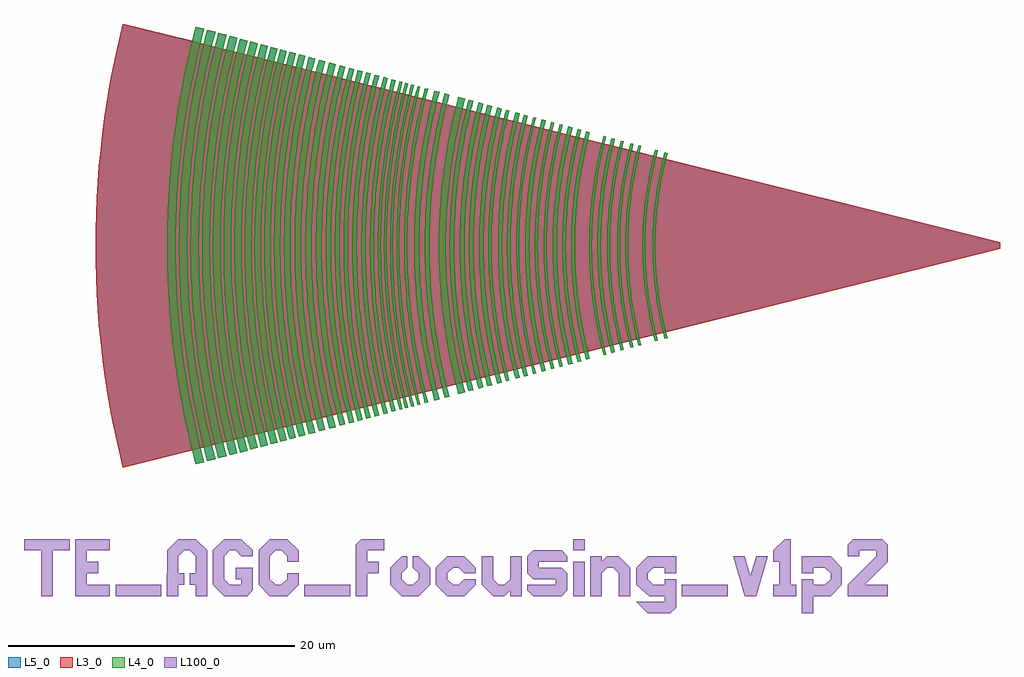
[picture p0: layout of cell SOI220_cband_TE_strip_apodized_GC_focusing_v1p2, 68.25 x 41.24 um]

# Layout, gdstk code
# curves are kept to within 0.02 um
import gdstk
lib = gdstk.Library(unit=1e-6, precision=1e-09)
def R(c, l, rs):  # rectangles x0, y0, x1, y1
    for r in rs: c.add(gdstk.rectangle(r[:2], r[2:], *l))
def P(c, l, *ps):  # polygons
    for p in ps: c.add(gdstk.Polygon(p, *l))
L3_0 = (3, 0)
L4_0 = (4, 0)
L5_0 = (5, 0)
L100_0 = (100, 0)

text_gdsfactorypcomponen = lib.new_cell('text_gdsfactorypcomponentsptextsptext_TTE_AGC_focusing__eea6ce67')
R(text_gdsfactorypcomponen, L100_0, [(6.8,0,10,0.8), (20,0,23.2,0.8), (38.8,0,39.6,2.4), (46.4,0,49.6,0.8), (38.8,3.2,39.6,4)])
P(text_gdsfactorypcomponen, L100_0, [(26.8,0),(26,0.8),(26,2),(26.8,2.8),(27.2,2.8),(27.2,2),(26.8,1.6),(26.8,1.2),(27.2,0.8),(27.6,0.8),(28,1.2),(28,1.6),(27.6,2),(27.6,2.8),(28,2.8),(28.8,2),(28.8,0.8),(28,0)],
  [(30,0),(29.2,0.8),(29.2,2),(30,2.8),(31.2,2.8),(32,2),(32,1.6),(31.2,1.6),(30.8,2),(30.4,2),(30,1.6),(30,1.2),(30.4,0.8),(30.8,0.8),(31.2,1.2),(32,1.2),(32,0.8),(31.2,0)],
  [(33.2,0),(32.4,0.8),(32.4,2.8),(33.2,2.8),(33.2,1.2),(33.6,0.8),(34,0.8),(34.4,1.2),(34.4,2.8),(35.2,2.8),(35.2,0),(34.4,0),(34.4,0.4),(34,0)],
  [(40,0),(40,2.8),(40.8,2.8),(40.8,2.4),(41.2,2.8),(42,2.8),(42.8,2),(42.8,0),(42,0),(42,1.6),(41.6,2),(41.2,2),(40.8,1.6),(40.8,0)],
  [(44,-1.2),(43.2,-0.4),(45.2,-0.4),(45.2,0),(44.136,0),(43.2,0.8),(43.2,2),(44,2.8),(46,2.8),(46,1.6),(45.2,1.6),(45.2,2),(44.4,2),(44,1.6),(44,1.2),(44.4,0.8),(45.2,0.8),(45.2,1.2),(46,1.2),(46,-0.8),(45.6,-1.2)],
  [(50.8,0),(50,2.8),(50.8,2.8),(51.2,1.4),(51.6,2.8),(52.4,2.8),(51.6,0)],
  [(54.8,-1.2),(54.8,1.2),(55.6,1.2),(55.6,0.8),(56.4,0.8),(56.8,1.2),(56.8,1.6),(56.4,2),(55.6,2),(55.6,1.6),(54.8,1.6),(54.8,2.8),(56.8,2.8),(57.6,2),(57.6,0.8),(56.8,0),(55.6,0),(55.6,-1.2)],
  [(36,0),(35.6,0.4),(35.6,0.8),(37.6,0.8),(37.6,1.2),(36,1.2),(35.6,1.6),(35.6,2.8),(36,3.2),(38,3.2),(38.4,2.8),(38.4,2.4),(36.4,2.4),(36.4,2),(38,2),(38.4,1.6),(38.4,0.4),(38,0)],
  [(1.6,0),(1.6,3.2),(0.4,3.2),(0.4,4),(3.6,4),(3.6,3.2),(2.4,3.2),(2.4,0)],
  [(4,0),(4,4),(6.4,4),(6.4,3.2),(4.8,3.2),(4.8,2.4),(5.6,2.4),(5.6,1.6),(4.8,1.6),(4.8,0.8),(6.4,0.8),(6.4,0)],
  [(10.396,0),(10.4,3.2),(11.2,4),(12.404,4),(13.2,3.2),(13.2,0),(12.404,0),(12.404,0.8),(12,0.8),(12,1.6),(12.404,1.6),(12.404,2.8),(12,3.2),(11.6,3.2),(11.2,2.8),(11.2,1.6),(11.6,1.6),(11.6,0.8),(11.2,0.8),(11.2,0)],
  [(14.4,0),(13.6,0.8),(13.6,3.2),(14.4,4),(15.6,4),(16.4,3.2),(16.4,2.8),(15.6,2.8),(15.2,3.2),(14.8,3.2),(14.4,2.8),(14.4,1.2),(14.8,0.8),(15.6,0.8),(15.6,1.2),(15.2,1.2),(15.2,2),(16.4,2),(16.4,0.4),(16,0)],
  [(17.6,0),(16.8,0.8),(16.8,3.2),(17.6,4),(18.8,4),(19.6,3.2),(19.6,2.4),(18.8,2.4),(18.8,2.8),(18.4,3.2),(18,3.2),(17.6,2.8),(17.6,1.2),(18,0.8),(18.4,0.8),(18.8,1.2),(18.8,1.6),(19.6,1.6),(19.6,0.8),(18.8,0)],
  [(23.6,0),(23.6,3.6),(24,4),(25.6,4),(25.6,3.2),(24.4,3.2),(24.4,2.4),(25.2,2.4),(25.2,1.6),(24.4,1.6),(24.4,0)],
  [(52.8,0),(52.8,0.8),(53.2,0.8),(53.2,2.4),(52.8,2.4),(52.8,3.2),(53.6,4),(54,4),(54,0.8),(54.4,0.8),(54.4,0)],
  [(58,0),(58,0.8),(60,2.8),(60,3.2),(58.8,3.2),(58.8,2.8),(58,2.8),(58,3.6),(58.4,4),(60.4,4),(60.8,3.6),(60.8,2.4),(59.2,0.8),(60.8,0.8),(60.8,0)])

soi220_cband_te_strip_ap = lib.new_cell('SOI220_cband_TE_strip_apodized_GC_focusing_v1p2')
P(soi220_cband_te_strip_ap, L3_0, [(-61.343,-15.52),(-61.605,-14.431),(-62.07,-12.241),(-62.459,-10.035),(-62.771,-7.818),(-63.093,-4.475),(-63.21,-2.239),(-63.249,0),(-63.21,2.239),(-63.093,4.475),(-62.771,7.818),(-62.459,10.035),(-62.07,12.241),(-61.605,14.431),(-61.343,15.52),(0,0.225),(0,-0.225)])
P(soi220_cband_te_strip_ap, L4_0, [(-23.439,-6.522),(-23.835,-4.808),(-24.111,-3.071),(-24.251,-1.538),(-24.298,0),(-24.251,1.538),(-24.111,3.071),(-23.835,4.808),(-23.439,6.522),(-23.246,6.47),(-23.639,4.77),(-23.884,3.263),(-24.037,1.744),(-24.098,0),(-24.037,-1.744),(-23.884,-3.263),(-23.639,-4.77),(-23.246,-6.47)],
  [(-24.12,-6.704),(-24.483,-5.165),(-24.781,-3.381),(-24.955,-1.581),(-25.003,0),(-24.955,1.581),(-24.781,3.381),(-24.483,5.165),(-24.12,6.704),(-23.927,6.653),(-24.331,4.905),(-24.583,3.355),(-24.755,1.569),(-24.803,0),(-24.755,-1.569),(-24.583,-3.355),(-24.331,-4.905),(-23.927,-6.653)],
  [(-25.278,-7.014),(-25.658,-5.404),(-25.97,-3.538),(-26.152,-1.654),(-26.202,0),(-26.152,1.654),(-25.97,3.538),(-25.658,5.404),(-25.278,7.014),(-25.085,6.963),(-25.508,5.134),(-25.772,3.512),(-25.952,1.642),(-26.002,0),(-25.952,-1.642),(-25.772,-3.512),(-25.508,-5.134),(-25.085,-6.963)],
  [(-25.829,-7.162),(-26.216,-5.517),(-26.535,-3.612),(-26.721,-1.689),(-26.772,0),(-26.721,1.689),(-26.535,3.612),(-26.216,5.517),(-25.829,7.162),(-25.636,7.111),(-26.067,5.242),(-26.337,3.586),(-26.521,1.677),(-26.572,0),(-26.521,-1.677),(-26.337,-3.586),(-26.067,-5.242),(-25.636,-7.111)],
  [(-26.508,-7.344),(-26.906,-5.658),(-27.232,-3.704),(-27.406,-1.979),(-27.475,0),(-27.406,1.979),(-27.232,3.704),(-26.906,5.658),(-26.508,7.344),(-26.306,7.29),(-26.701,5.616),(-27.025,3.677),(-27.197,1.965),(-27.266,0),(-27.197,-1.965),(-27.025,-3.677),(-26.701,-5.616),(-26.306,-7.29)],
  [(-27.167,-7.52),(-27.574,-5.794),(-27.909,-3.793),(-28.103,-1.775),(-28.157,0),(-28.103,1.775),(-27.909,3.793),(-27.574,5.794),(-27.167,7.52),(-26.923,7.456),(-27.376,5.497),(-27.659,3.76),(-27.835,2.009),(-27.905,0),(-27.835,-2.009),(-27.659,-3.76),(-27.376,-5.497),(-26.923,-7.456)],
  [(-27.725,-7.67),(-28.139,-5.909),(-28.48,-3.868),(-28.679,-1.809),(-28.734,0),(-28.679,1.809),(-28.48,3.868),(-28.139,5.909),(-27.725,7.67),(-27.531,7.619),(-27.943,5.869),(-28.282,3.842),(-28.479,1.797),(-28.534,0),(-28.479,-1.797),(-28.282,-3.842),(-27.943,-5.869),(-27.531,-7.619)],
  [(-28.944,-7.996),(-29.428,-5.896),(-29.732,-4.033),(-29.938,-1.886),(-29.996,0),(-29.938,1.886),(-29.732,4.033),(-29.428,5.896),(-28.944,7.996),(-28.675,7.925),(-29.103,6.105),(-29.456,3.997),(-29.661,1.869),(-29.718,0),(-29.661,-1.869),(-29.456,-3.997),(-29.103,-6.105),(-28.675,-7.925)],
  [(-29.532,-8.153),(-29.973,-6.281),(-30.336,-4.113),(-30.547,-1.923),(-30.605,0),(-30.547,1.923),(-30.336,4.113),(-29.973,6.281),(-29.532,8.153),(-29.288,8.089),(-29.726,6.231),(-30.086,4.08),(-30.295,1.908),(-30.353,0),(-30.295,-1.908),(-30.086,-4.08),(-29.726,-6.231),(-29.288,-8.089)],
  [(-30.19,-8.329),(-30.64,-6.417),(-30.845,-5.312),(-31.01,-4.201),(-31.138,-3.085),(-31.226,-1.965),(-31.286,0),(-31.226,1.965),(-31.138,3.085),(-31.01,4.201),(-30.845,5.312),(-30.64,6.417),(-30.19,8.329),(-29.889,8.25),(-30.335,6.355),(-30.702,4.161),(-30.916,1.946),(-30.975,0),(-30.916,-1.946),(-30.702,-4.161),(-30.335,-6.355),(-29.889,-8.25)],
  [(-30.793,-8.492),(-31.253,-6.541),(-31.63,-4.283),(-31.76,-3.145),(-31.85,-2.003),(-31.911,0),(-31.85,2.003),(-31.76,3.145),(-31.63,4.283),(-31.253,6.541),(-30.793,8.492),(-30.582,8.436),(-31.039,6.498),(-31.414,4.255),(-31.614,2.274),(-31.693,0),(-31.614,-2.274),(-31.414,-4.255),(-31.039,-6.498),(-30.582,-8.436)],
  [(-31.391,-8.652),(-31.673,-7.521),(-31.916,-6.38),(-32.244,-4.364),(-32.376,-3.204),(-32.468,-2.04),(-32.53,0),(-32.468,2.04),(-32.376,3.204),(-32.244,4.364),(-31.916,6.38),(-31.673,7.521),(-31.391,8.652),(-31.176,8.595),(-31.457,7.471),(-31.698,6.337),(-32.024,4.335),(-32.155,3.183),(-32.246,2.027),(-32.308,0),(-32.246,-2.027),(-32.155,-3.183),(-32.024,-4.335),(-31.698,-6.337),(-31.457,-7.471),(-31.176,-8.595)],
  [(-32.043,-8.826),(-32.52,-6.8),(-32.737,-5.63),(-32.913,-4.452),(-33.122,-2.379),(-33.184,-1.19),(-33.205,0),(-33.184,1.19),(-33.122,2.379),(-32.913,4.452),(-32.737,5.63),(-32.52,6.8),(-32.043,8.826),(-31.752,8.75),(-32.038,7.605),(-32.283,6.45),(-32.615,4.413),(-32.822,2.358),(-32.883,1.18),(-32.904,0),(-32.883,-1.18),(-32.822,-2.358),(-32.615,-4.413),(-32.283,-6.45),(-32.038,-7.605),(-31.752,-8.75)],
  [(-32.633,-8.985),(-33.119,-6.922),(-33.34,-5.73),(-33.519,-4.532),(-33.656,-3.327),(-33.752,-2.119),(-33.816,0),(-33.752,2.119),(-33.656,3.327),(-33.519,4.532),(-33.34,5.73),(-33.119,6.922),(-32.633,8.985),(-32.44,8.934),(-32.798,7.471),(-33.038,6.29),(-33.237,5.102),(-33.427,3.608),(-33.569,1.807),(-33.616,0),(-33.569,-1.807),(-33.427,-3.608),(-33.237,-5.102),(-33.038,-6.29),(-32.798,-7.471),(-32.44,-8.934)],
  [(-33.278,-9.157),(-33.774,-7.054),(-33.998,-5.841),(-34.182,-4.619),(-34.397,-2.468),(-34.463,-1.235),(-34.484,0),(-34.463,1.235),(-34.397,2.468),(-34.182,4.619),(-33.998,5.841),(-33.774,7.054),(-33.278,9.157),(-33.019,9.089),(-33.316,7.9),(-33.571,6.701),(-33.916,4.584),(-34.13,2.45),(-34.195,1.226),(-34.216,0),(-34.195,-1.226),(-34.13,-2.45),(-33.916,-4.584),(-33.571,-6.701),(-33.316,-7.9),(-33.019,-9.089)],
  [(-33.875,-9.318),(-34.379,-7.178),(-34.608,-5.942),(-34.794,-4.699),(-35.014,-2.511),(-35.08,-1.257),(-35.102,0),(-35.08,1.257),(-35.014,2.511),(-34.794,4.699),(-34.608,5.942),(-34.379,7.178),(-33.875,9.318),(-33.583,9.24),(-33.885,8.031),(-34.144,6.812),(-34.495,4.66),(-34.713,2.49),(-34.778,1.246),(-34.8,0),(-34.778,-1.246),(-34.713,-2.49),(-34.495,-4.66),(-34.144,-6.812),(-33.885,-8.031),(-33.583,-9.24)],
  [(-34.534,-9.494),(-34.844,-8.252),(-35.11,-7),(-35.47,-4.789),(-35.615,-3.517),(-35.716,-2.239),(-35.784,0),(-35.716,2.239),(-35.615,3.517),(-35.47,4.789),(-35.11,7),(-34.844,8.252),(-34.534,9.494),(-34.306,9.434),(-34.816,7.267),(-35.048,6.016),(-35.236,4.758),(-35.38,3.494),(-35.48,2.225),(-35.548,0),(-35.48,-2.225),(-35.38,-3.494),(-35.236,-4.758),(-35.048,-6.016),(-34.816,-7.267),(-34.306,-9.434)],
  [(-35.16,-9.661),(-35.476,-8.398),(-35.746,-7.123),(-36.112,-4.873),(-36.341,-2.604),(-36.409,-1.302),(-36.432,0),(-36.409,1.302),(-36.341,2.604),(-36.112,4.873),(-35.746,7.123),(-35.476,8.398),(-35.16,9.661),(-34.838,9.577),(-35.356,7.377),(-35.592,6.107),(-35.782,4.83),(-36.009,2.581),(-36.076,1.291),(-36.099,0),(-36.076,-1.291),(-36.009,-2.581),(-35.782,-4.83),(-35.592,-6.107),(-35.356,-7.377),(-34.838,-9.577)],
  [(-35.843,-9.845),(-36.164,-8.557),(-36.44,-7.259),(-36.813,-4.965),(-36.995,-3.316),(-37.068,-2.323),(-37.139,0),(-37.068,2.323),(-36.995,3.316),(-36.813,4.965),(-36.44,7.259),(-36.164,8.557),(-35.843,9.845),(-35.514,9.758),(-36.042,7.516),(-36.282,6.222),(-36.476,4.921),(-36.625,3.613),(-36.729,2.302),(-36.799,0),(-36.729,-2.302),(-36.625,-3.613),(-36.476,-4.921),(-36.282,-6.222),(-36.042,-7.516),(-35.514,-9.758)],
  [(-36.462,-10.011),(-36.788,-8.702),(-37.07,-7.381),(-37.449,-5.049),(-37.686,-2.698),(-37.757,-1.35),(-37.78,0),(-37.757,1.35),(-37.686,2.698),(-37.449,5.049),(-37.07,7.381),(-36.788,8.702),(-36.462,10.011),(-36.135,9.924),(-36.459,8.626),(-36.738,7.316),(-37.114,5.005),(-37.349,2.675),(-37.419,1.338),(-37.442,0),(-37.419,-1.338),(-37.349,-2.675),(-37.114,-5.005),(-36.738,-7.316),(-36.459,-8.626),(-36.135,-9.924)],
  [(-37.154,-10.196),(-37.705,-7.855),(-37.955,-6.502),(-38.159,-5.143),(-38.4,-2.748),(-38.472,-1.375),(-38.496,0),(-38.472,1.375),(-38.4,2.748),(-38.159,5.143),(-37.955,6.502),(-37.705,7.855),(-37.154,10.196),(-36.83,10.11),(-37.377,7.788),(-37.625,6.447),(-37.827,5.099),(-38.066,2.725),(-38.137,1.363),(-38.161,0),(-38.137,-1.363),(-38.066,-2.725),(-37.827,-5.099),(-37.625,-6.447),(-37.377,-7.788),(-36.83,-10.11)],
  [(-37.881,-10.39),(-38.219,-9.031),(-38.511,-7.661),(-38.905,-5.24),(-39.063,-3.848),(-39.173,-2.451),(-39.248,0),(-39.173,2.451),(-39.063,3.848),(-38.905,5.24),(-38.511,7.661),(-38.219,9.031),(-37.881,10.39),(-37.395,10.262),(-37.73,8.919),(-38.018,7.565),(-38.407,5.175),(-38.563,3.8),(-38.672,2.42),(-38.746,0),(-38.672,-2.42),(-38.563,-3.8),(-38.407,-5.175),(-38.018,-7.565),(-37.73,-8.919),(-37.395,-10.262)],
  [(-38.831,-10.645),(-39.177,-9.253),(-39.477,-7.849),(-39.88,-5.37),(-40.132,-2.87),(-40.207,-1.436),(-40.232,0),(-40.207,1.436),(-40.132,2.87),(-39.88,5.37),(-39.477,7.849),(-39.177,9.253),(-38.831,10.645),(-38.501,10.558),(-38.845,9.176),(-39.142,7.784),(-39.542,5.325),(-39.792,2.846),(-39.866,1.424),(-39.891,0),(-39.866,-1.424),(-39.792,-2.846),(-39.542,-5.325),(-39.142,-7.784),(-38.845,-9.176),(-38.501,-10.558)],
  [(-39.544,-10.836),(-40.13,-8.348),(-40.396,-6.911),(-40.612,-5.466),(-40.777,-4.013),(-40.892,-2.556),(-40.97,0),(-40.892,2.556),(-40.777,4.013),(-40.612,5.466),(-40.396,6.911),(-40.13,8.348),(-39.544,10.836),(-39.19,10.743),(-39.771,8.275),(-40.035,6.85),(-40.249,5.418),(-40.413,3.978),(-40.527,2.534),(-40.604,0),(-40.527,-2.534),(-40.413,-3.978),(-40.249,-5.418),(-40.035,-6.85),(-39.771,-8.275),(-39.19,-10.743)],
  [(-40.217,-11.017),(-40.577,-9.576),(-40.886,-8.122),(-41.304,-5.557),(-41.472,-4.08),(-41.589,-2.599),(-41.668,0),(-41.589,2.599),(-41.472,4.08),(-41.304,5.557),(-40.886,8.122),(-40.577,9.576),(-40.217,11.017),(-39.997,10.959),(-40.355,9.525),(-40.731,7.716),(-40.975,6.259),(-41.168,4.793),(-41.382,2.216),(-41.44,0),(-41.382,-2.216),(-41.168,-4.793),(-40.975,-6.259),(-40.731,-7.716),(-40.355,-9.525),(-39.997,-10.959)],
  [(-40.732,-11.155),(-41.011,-10.062),(-41.336,-8.593),(-41.61,-7.114),(-41.832,-5.626),(-42.002,-4.131),(-42.121,-2.631),(-42.201,0),(-42.121,2.631),(-42.002,4.131),(-41.832,5.626),(-41.61,7.114),(-41.336,8.593),(-41.011,10.062),(-40.732,11.155),(-40.539,11.104),(-40.984,9.286),(-41.283,7.818),(-41.53,6.341),(-41.725,4.857),(-41.921,2.619),(-42.001,0),(-41.921,-2.619),(-41.725,-4.857),(-41.53,-6.341),(-41.283,-7.818),(-40.984,-9.286),(-40.539,-11.104)],
  [(-41.168,-11.272),(-41.778,-8.683),(-42.054,-7.188),(-42.279,-5.685),(-42.451,-4.174),(-42.571,-2.659),(-42.626,-1.52),(-42.652,0),(-42.626,1.52),(-42.571,2.659),(-42.451,4.174),(-42.279,5.685),(-42.054,7.188),(-41.778,8.683),(-41.168,11.272),(-40.974,11.221),(-41.34,9.752),(-41.725,7.9),(-41.975,6.408),(-42.172,4.908),(-42.392,2.269),(-42.451,0),(-42.392,-2.269),(-42.172,-4.908),(-41.975,-6.408),(-41.725,-7.9),(-41.34,-9.752),(-40.974,-11.221)],
  [(-41.583,-11.383),(-41.955,-9.894),(-42.274,-8.392),(-42.541,-6.88),(-42.705,-5.741),(-42.841,-4.598),(-42.975,-3.068),(-43.055,-1.535),(-43.082,0),(-43.055,1.535),(-42.975,3.068),(-42.841,4.598),(-42.705,5.741),(-42.541,6.88),(-42.274,8.392),(-41.955,9.894),(-41.583,11.383),(-41.389,11.332),(-41.759,9.849),(-42.077,8.354),(-42.342,6.849),(-42.6,4.956),(-42.821,2.291),(-42.881,0),(-42.821,-2.291),(-42.6,-4.956),(-42.342,-6.849),(-42.077,-8.354),(-41.759,-9.849),(-41.389,-11.332)],
  [(-41.99,-11.492),(-42.365,-9.989),(-42.612,-8.853),(-42.894,-7.329),(-43.123,-5.796),(-43.299,-4.256),(-43.421,-2.711),(-43.488,-1.162),(-43.503,0),(-43.488,1.162),(-43.421,2.711),(-43.299,4.256),(-43.123,5.796),(-42.894,7.329),(-42.612,8.853),(-42.365,9.989),(-41.99,11.492),(-41.785,11.438),(-42.158,9.941),(-42.551,8.054),(-42.806,6.532),(-43.007,5.003),(-43.209,2.698),(-43.276,1.157),(-43.291,0),(-43.276,-1.157),(-43.209,-2.698),(-43.007,-5.003),(-42.806,-6.532),(-42.551,-8.054),(-42.158,-9.941),(-41.785,-11.438)],
  [(-42.527,-11.635),(-42.906,-10.114),(-43.232,-8.578),(-43.505,-7.034),(-43.674,-5.868),(-43.851,-4.309),(-43.974,-2.745),(-44.031,-1.569),(-44.058,0),(-44.031,1.569),(-43.974,2.745),(-43.851,4.309),(-43.674,5.868),(-43.505,7.034),(-43.232,8.578),(-42.906,10.114),(-42.527,11.635),(-42.251,11.563),(-42.539,10.429),(-42.876,8.907),(-43.16,7.374),(-43.391,5.831),(-43.567,4.282),(-43.69,2.727),(-43.758,1.169),(-43.773,0),(-43.758,-1.169),(-43.69,-2.727),(-43.567,-4.282),(-43.391,-5.831),(-43.16,-7.374),(-42.876,-8.907),(-42.539,-10.429),(-42.251,-11.563)],
  [(-43.106,-11.79),(-43.49,-10.248),(-43.821,-8.693),(-44.097,-7.128),(-44.268,-5.947),(-44.449,-4.367),(-44.547,-3.179),(-44.63,-1.589),(-44.658,0),(-44.63,1.589),(-44.547,3.179),(-44.449,4.367),(-44.268,5.947),(-44.097,7.128),(-43.821,8.693),(-43.49,10.248),(-43.106,11.79),(-42.812,11.713),(-43.194,10.18),(-43.523,8.635),(-43.797,7.08),(-43.967,5.907),(-44.146,4.338),(-44.27,2.763),(-44.338,1.185),(-44.354,0),(-44.338,-1.185),(-44.27,-2.763),(-44.146,-4.338),(-43.967,-5.907),(-43.797,-7.08),(-43.523,-8.635),(-43.194,-10.18),(-42.812,-11.713)],
  [(-43.723,-11.956),(-44.113,-10.393),(-44.448,-8.816),(-44.664,-7.625),(-44.902,-6.03),(-45.085,-4.428),(-45.184,-3.223),(-45.269,-1.612),(-45.297,0),(-45.269,1.612),(-45.184,3.223),(-45.085,4.428),(-44.902,6.03),(-44.664,7.625),(-44.448,8.816),(-44.113,10.393),(-43.723,11.956),(-43.406,11.872),(-43.702,10.708),(-44.048,9.145),(-44.34,7.571),(-44.577,5.987),(-44.758,4.397),(-44.857,3.2),(-44.941,1.601),(-44.969,0),(-44.941,-1.601),(-44.857,-3.2),(-44.758,-4.397),(-44.577,-5.987),(-44.34,-7.571),(-44.048,-9.145),(-43.702,-10.708),(-43.406,-11.872)],
  [(-44.308,-12.112),(-44.702,-10.529),(-44.963,-9.331),(-45.26,-7.725),(-45.501,-6.109),(-45.687,-4.486),(-45.788,-3.264),(-45.874,-1.634),(-45.902,0),(-45.874,1.634),(-45.788,3.264),(-45.687,4.486),(-45.501,6.109),(-45.26,7.725),(-44.963,9.331),(-44.702,10.529),(-44.308,12.112),(-44.007,12.033),(-44.306,10.854),(-44.658,9.269),(-44.953,7.674),(-45.193,6.069),(-45.377,4.456),(-45.478,3.243),(-45.563,1.623),(-45.591,0),(-45.563,-1.623),(-45.478,-3.243),(-45.377,-4.456),(-45.193,-6.069),(-44.953,-7.674),(-44.658,-9.269),(-44.306,-10.854),(-44.007,-12.033)],
  [(-44.899,-12.271),(-45.299,-10.666),(-45.643,-9.048),(-45.93,-7.418),(-46.108,-6.189),(-46.254,-4.956),(-46.398,-3.308),(-46.485,-1.655),(-46.514,0),(-46.485,1.655),(-46.398,3.308),(-46.254,4.956),(-46.108,6.189),(-45.93,7.418),(-45.643,9.048),(-45.299,10.666),(-44.899,12.271),(-44.566,12.183),(-44.964,10.589),(-45.225,9.385),(-45.524,7.769),(-45.767,6.144),(-45.953,4.512),(-46.082,2.874),(-46.154,1.232),(-46.17,0),(-46.154,-1.232),(-46.082,-2.874),(-45.953,-4.512),(-45.767,-6.144),(-45.524,-7.769),(-45.225,-9.385),(-44.964,-10.589),(-44.566,-12.183)],
  [(-45.515,-12.436),(-45.825,-11.218),(-46.188,-9.58),(-46.493,-7.931),(-46.741,-6.273),(-46.889,-5.023),(-47.035,-3.352),(-47.123,-1.677),(-47.152,0),(-47.123,1.677),(-47.035,3.352),(-46.889,5.023),(-46.741,6.273),(-46.493,7.931),(-46.188,9.58),(-45.825,11.218),(-45.515,12.436),(-45.155,12.341),(-45.463,11.131),(-45.823,9.506),(-46.126,7.87),(-46.372,6.224),(-46.519,4.984),(-46.664,3.326),(-46.751,1.664),(-46.78,0),(-46.751,-1.664),(-46.664,-3.326),(-46.519,-4.984),(-46.372,-6.224),(-46.126,-7.87),(-45.823,-9.506),(-45.463,-11.131),(-45.155,-12.341)],
  [(-46.181,-12.615),(-46.593,-10.965),(-46.864,-9.718),(-47.173,-8.045),(-47.425,-6.362),(-47.618,-4.672),(-47.751,-2.976),(-47.813,-1.701),(-47.842,0),(-47.813,1.701),(-47.751,2.976),(-47.618,4.672),(-47.425,6.362),(-47.173,8.045),(-46.864,9.718),(-46.593,10.965),(-46.181,12.615),(-45.773,12.507),(-46.182,10.87),(-46.45,9.634),(-46.757,7.975),(-47.007,6.307),(-47.198,4.631),(-47.33,2.95),(-47.391,1.686),(-47.42,0),(-47.391,-1.686),(-47.33,-2.95),(-47.198,-4.631),(-47.007,-6.307),(-46.757,-7.975),(-46.45,-9.634),(-46.182,-10.87),(-45.773,-12.507)],
  [(-46.893,-12.805),(-47.31,-11.131),(-47.67,-9.442),(-47.901,-8.166),(-48.156,-6.459),(-48.308,-5.172),(-48.459,-3.452),(-48.549,-1.727),(-48.579,0),(-48.549,1.727),(-48.459,3.452),(-48.308,5.172),(-48.156,6.459),(-47.901,8.166),(-47.67,9.442),(-47.31,11.131),(-46.893,12.805),(-46.458,12.69),(-46.774,11.446),(-47.145,9.775),(-47.457,8.092),(-47.71,6.4),(-47.903,4.699),(-48.038,2.993),(-48.099,1.711),(-48.129,0),(-48.099,-1.711),(-48.038,-2.993),(-47.903,-4.699),(-47.71,-6.4),(-47.457,-8.092),(-47.145,-9.775),(-46.774,-11.446),(-46.458,-12.69)],
  [(-47.619,-12.999),(-48.043,-11.3),(-48.322,-10.015),(-48.641,-8.291),(-48.9,-6.557),(-49.099,-4.815),(-49.208,-3.504),(-49.3,-1.753),(-49.33,0),(-49.3,1.753),(-49.208,3.504),(-49.099,4.815),(-48.9,6.557),(-48.641,8.291),(-48.322,10.015),(-48.043,11.3),(-47.619,12.999),(-47.168,12.88),(-47.589,11.195),(-47.95,9.496),(-48.251,7.785),(-48.438,6.496),(-48.635,4.77),(-48.743,3.472),(-48.834,1.737),(-48.864,0),(-48.834,-1.737),(-48.743,-3.472),(-48.635,-4.77),(-48.438,-6.496),(-48.251,-7.785),(-47.95,-9.496),(-47.589,-11.195),(-47.168,-12.88)],
  [(-48.334,-13.19),(-48.763,-11.466),(-49.134,-9.726),(-49.371,-8.412),(-49.634,-6.654),(-49.791,-5.328),(-49.946,-3.556),(-50.039,-1.779),(-50.07,0),(-50.039,1.779),(-49.946,3.556),(-49.791,5.328),(-49.634,6.654),(-49.371,8.412),(-49.134,9.726),(-48.763,11.466),(-48.334,13.19),(-47.892,13.074),(-48.318,11.363),(-48.685,9.639),(-48.991,7.902),(-49.181,6.594),(-49.38,4.842),(-49.519,3.084),(-49.596,1.322),(-49.613,0),(-49.596,-1.322),(-49.519,-3.084),(-49.38,-4.842),(-49.181,-6.594),(-48.991,-7.902),(-48.685,-9.639),(-48.318,-11.363),(-47.892,-13.074)],
  [(-49.015,-13.372),(-49.347,-12.064),(-49.738,-10.303),(-50.067,-8.529),(-50.333,-6.745),(-50.492,-5.401),(-50.649,-3.605),(-50.744,-1.804),(-50.775,0),(-50.744,1.804),(-50.649,3.605),(-50.492,5.401),(-50.333,6.745),(-50.067,8.529),(-49.738,10.303),(-49.347,12.064),(-49.015,13.372),(-48.575,13.257),(-48.905,11.958),(-49.292,10.212),(-49.618,8.454),(-49.882,6.686),(-50.084,4.909),(-50.195,3.573),(-50.289,1.788),(-50.32,0),(-50.289,-1.788),(-50.195,-3.573),(-50.084,-4.909),(-49.882,-6.686),(-49.618,-8.454),(-49.292,-10.212),(-48.905,-11.958),(-48.575,-13.257)],
  [(-49.673,-13.55),(-50.115,-11.778),(-50.495,-9.991),(-50.739,-8.642),(-51.009,-6.834),(-51.171,-5.474),(-51.33,-3.653),(-51.425,-1.827),(-51.457,0),(-51.425,1.827),(-51.33,3.653),(-51.171,5.474),(-51.009,6.834),(-50.739,8.642),(-50.495,9.991),(-50.115,11.778),(-49.673,13.55),(-49.235,13.434),(-49.674,11.676),(-49.962,10.348),(-50.292,8.567),(-50.56,6.775),(-50.72,5.426),(-50.878,3.621),(-50.972,1.811),(-51.004,0),(-50.972,-1.811),(-50.878,-3.621),(-50.72,-5.426),(-50.56,-6.775),(-50.292,-8.567),(-49.962,-10.348),(-49.674,-11.676),(-49.235,-13.434)],
  [(-50.327,-13.725),(-50.774,-11.93),(-51.069,-10.574),(-51.406,-8.754),(-51.679,-6.922),(-51.889,-5.083),(-52.004,-3.7),(-52.101,-1.851),(-52.133,0),(-52.101,1.851),(-52.004,3.7),(-51.889,5.083),(-51.679,6.922),(-51.406,8.754),(-51.069,10.574),(-50.774,11.93),(-50.327,13.725),(-49.873,13.605),(-50.212,12.271),(-50.609,10.48),(-50.943,8.676),(-51.214,6.861),(-51.376,5.495),(-51.536,3.667),(-51.632,1.835),(-51.664,0),(-51.632,-1.835),(-51.536,-3.667),(-51.376,-5.495),(-51.214,-6.861),(-50.943,-8.676),(-50.609,-10.48),(-50.212,-12.271),(-49.873,-13.605)],
  [(-50.992,-13.902),(-51.445,-12.085),(-51.835,-10.252),(-52.161,-8.404),(-52.363,-7.013),(-52.575,-5.149),(-52.722,-3.28),(-52.79,-1.875),(-52.822,0),(-52.79,1.875),(-52.722,3.28),(-52.575,5.149),(-52.363,7.013),(-52.161,8.404),(-51.835,10.252),(-51.445,12.085),(-50.992,13.902),(-50.519,13.778),(-50.969,11.975),(-51.355,10.158),(-51.678,8.328),(-51.878,6.949),(-52.088,5.102),(-52.234,3.25),(-52.301,1.858),(-52.333,0),(-52.301,-1.858),(-52.234,-3.25),(-52.088,-5.102),(-51.878,-6.949),(-51.678,-8.328),(-51.355,-10.158),(-50.969,-11.975),(-50.519,-13.778)],
  [(-51.691,-14.09),(-52.042,-12.711),(-52.453,-10.855),(-52.799,-8.987),(-53.081,-7.107),(-53.296,-5.219),(-53.414,-3.798),(-53.513,-1.9),(-53.546,0),(-53.513,1.9),(-53.414,3.798),(-53.296,5.219),(-53.081,7.107),(-52.799,8.987),(-52.453,10.855),(-52.042,12.711),(-51.691,14.09),(-51.187,13.957),(-51.643,12.131),(-52.034,10.29),(-52.361,8.436),(-52.564,7.039),(-52.73,5.637),(-52.894,3.762),(-52.992,1.882),(-53.025,0),(-52.992,-1.882),(-52.894,-3.762),(-52.73,-5.637),(-52.564,-7.039),(-52.361,-8.436),(-52.034,-10.29),(-51.643,-12.131),(-51.187,-13.957)],
  [(-52.417,-14.285),(-52.773,-12.886),(-53.19,-11.005),(-53.541,-9.11),(-53.825,-7.205),(-53.996,-5.77),(-54.164,-3.851),(-54.265,-1.927),(-54.298,0),(-54.265,1.927),(-54.164,3.851),(-53.996,5.77),(-53.825,7.205),(-53.541,9.11),(-53.19,11.005),(-52.773,12.886),(-52.417,14.285),(-51.898,14.148),(-52.251,12.761),(-52.664,10.898),(-53.011,9.022),(-53.293,7.135),(-53.462,5.714),(-53.628,3.813),(-53.728,1.908),(-53.761,0),(-53.728,-1.908),(-53.628,-3.813),(-53.462,-5.714),(-53.293,-7.135),(-53.011,-9.022),(-52.664,-10.898),(-52.251,-12.761),(-51.898,-14.148)],
  [(-53.136,-14.477),(-53.608,-12.585),(-53.919,-11.153),(-54.275,-9.234),(-54.563,-7.302),(-54.736,-5.848),(-54.906,-3.903),(-55.008,-1.952),(-55.042,0),(-55.008,1.952),(-54.906,3.903),(-54.736,5.848),(-54.563,7.302),(-54.275,9.234),(-53.919,11.153),(-53.608,12.585),(-53.136,14.477),(-52.611,14.339),(-53.079,12.463),(-53.387,11.045),(-53.739,9.144),(-54.025,7.231),(-54.244,5.31),(-54.396,3.382),(-54.48,1.45),(-54.499,0),(-54.48,-1.45),(-54.396,-3.382),(-54.244,-5.31),(-54.025,-7.231),(-53.739,-9.144),(-53.387,-11.045),(-53.079,-12.463),(-52.611,-14.339)],
  [(-53.87,-14.674),(-54.235,-13.237),(-54.663,-11.304),(-55.023,-9.359),(-55.316,-7.401),(-55.54,-5.435),(-55.663,-3.956),(-55.767,-1.979),(-55.801,0),(-55.767,1.979),(-55.663,3.956),(-55.54,5.435),(-55.316,7.401),(-55.023,9.359),(-54.663,11.304),(-54.235,13.237),(-53.87,14.674),(-53.333,14.532),(-53.695,13.107),(-54.119,11.194),(-54.476,9.267),(-54.766,7.329),(-54.988,5.382),(-55.109,3.917),(-55.212,1.96),(-55.246,0),(-55.212,-1.96),(-55.109,-3.917),(-54.988,-5.382),(-54.766,-7.329),(-54.476,-9.267),(-54.119,-11.194),(-53.695,-13.107),(-53.333,-14.532)],
  [(-54.652,-14.884),(-55.138,-12.938),(-55.555,-10.975),(-55.904,-8.997),(-56.12,-7.508),(-56.347,-5.513),(-56.505,-3.511),(-56.577,-2.006),(-56.612,0),(-56.577,2.006),(-56.505,3.511),(-56.347,5.513),(-56.12,7.508),(-55.904,8.997),(-55.555,10.975),(-55.138,12.938),(-54.652,14.884),(-54.078,14.732),(-54.559,12.804),(-54.972,10.861),(-55.317,8.904),(-55.531,7.43),(-55.756,5.456),(-55.912,3.475),(-55.983,1.986),(-56.018,0),(-55.983,-1.986),(-55.912,-3.475),(-55.756,-5.456),(-55.531,-7.43),(-55.317,-8.904),(-54.972,-10.861),(-54.559,-12.804),(-54.078,-14.732)],
  [(-55.429,-15.091),(-55.922,-13.119),(-56.245,-11.626),(-56.616,-9.625),(-56.917,-7.612),(-57.097,-6.096),(-57.274,-4.068),(-57.381,-2.036),(-57.416,0),(-57.381,2.036),(-57.274,4.068),(-57.097,6.096),(-56.917,7.612),(-56.616,9.625),(-56.245,11.626),(-55.922,13.119),(-55.429,15.091),(-54.854,14.94),(-55.342,12.985),(-55.662,11.508),(-56.029,9.527),(-56.327,7.534),(-56.555,5.533),(-56.713,3.524),(-56.786,2.015),(-56.821,0),(-56.786,-2.015),(-56.713,-3.524),(-56.555,-5.533),(-56.327,-7.534),(-56.029,-9.527),(-55.662,-11.508),(-55.342,-12.985),(-54.854,-14.94)],
  [(-56.234,-15.307),(-56.615,-13.809),(-57.062,-11.792),(-57.438,-9.762),(-57.743,-7.721),(-57.976,-5.67),(-58.139,-3.612),(-58.229,-1.548),(-58.249,0),(-58.229,1.548),(-58.139,3.612),(-57.976,5.67),(-57.743,7.721),(-57.438,9.762),(-57.062,11.792),(-56.615,13.809),(-56.234,15.307),(-55.644,15.152),(-56.022,13.666),(-56.464,11.671),(-56.836,9.662),(-57.138,7.641),(-57.369,5.611),(-57.53,3.574),(-57.619,1.532),(-57.639,0),(-57.619,-1.532),(-57.53,-3.574),(-57.369,-5.611),(-57.138,-7.641),(-56.836,-9.662),(-56.464,-11.671),(-56.022,-13.666),(-55.644,-15.152)])
P(soi220_cband_te_strip_ap, L5_0, [(-61.343,-15.52),(-61.605,-14.431),(-62.07,-12.241),(-62.459,-10.035),(-62.771,-7.818),(-63.093,-4.475),(-63.21,-2.239),(-63.249,0),(-63.21,2.239),(-63.093,4.475),(-62.771,7.818),(-62.459,10.035),(-62.07,12.241),(-61.605,14.431),(-61.343,15.52),(-56.492,14.31),(-56.234,15.307),(-55.644,15.152),(-55.9,14.163),(-55.683,14.109),(-55.429,15.091),(-54.854,14.94),(-55.106,13.965),(-54.903,13.914),(-54.652,14.884),(-54.078,14.732),(-54.327,13.77),(-54.117,13.718),(-53.87,14.674),(-53.333,14.532),(-53.578,13.584),(-53.38,13.534),(-53.136,14.477),(-52.611,14.339),(-52.853,13.403),(-52.658,13.354),(-52.417,14.285),(-51.898,14.148),(-52.137,13.224),(-51.928,13.172),(-51.691,14.09),(-51.187,13.957),(-51.423,13.046),(-51.226,12.997),(-50.992,13.902),(-50.519,13.778),(-50.752,12.879),(-50.558,12.831),(-50.327,13.725),(-49.873,13.605),(-50.103,12.717),(-49.902,12.667),(-49.673,13.55),(-49.235,13.434),(-49.462,12.557),(-49.239,12.502),(-49.015,13.372),(-48.575,13.257),(-48.798,12.392),(-48.555,12.331),(-48.334,13.19),(-47.892,13.074),(-48.112,12.221),(-47.838,12.153),(-47.619,12.999),(-47.168,12.88),(-47.386,12.04),(-47.11,11.971),(-46.893,12.805),(-46.458,12.69),(-46.673,11.862),(-46.394,11.793),(-46.181,12.615),(-45.773,12.507),(-45.985,11.69),(-45.725,11.626),(-45.515,12.436),(-45.155,12.341),(-45.364,11.536),(-45.106,11.471),(-44.899,12.271),(-44.566,12.183),(-44.772,11.388),(-44.512,11.323),(-44.308,12.112),(-44.007,12.033),(-44.21,11.248),(-43.924,11.177),(-43.723,11.956),(-43.406,11.872),(-43.606,11.097),(-43.305,11.022),(-43.106,11.79),(-42.812,11.713),(-43.01,10.949),(-42.723,10.877),(-42.527,11.635),(-42.251,11.563),(-42.446,10.808),(-42.184,10.743),(-41.99,11.492),(-41.785,11.438),(-41.978,10.691),(-41.775,10.641),(-41.583,11.383),(-41.389,11.332),(-41.58,10.592),(-41.358,10.537),(-41.168,11.272),(-40.974,11.221),(-41.163,10.488),(-40.921,10.428),(-40.732,11.155),(-40.539,11.104),(-40.727,10.379),(-40.403,10.299),(-40.217,11.017),(-39.997,10.959),(-40.182,10.244),(-39.726,10.13),(-39.544,10.836),(-39.19,10.743),(-39.371,10.041),(-39.01,9.951),(-38.831,10.645),(-38.501,10.558),(-38.679,9.869),(-38.055,9.713),(-37.881,10.39),(-37.395,10.262),(-37.568,9.592),(-37.326,9.531),(-37.154,10.196),(-36.83,10.11),(-37.001,9.45),(-36.631,9.358),(-36.462,10.011),(-36.135,9.924),(-36.303,9.276),(-36.009,9.203),(-35.843,9.845),(-35.514,9.758),(-35.679,9.121),(-35.323,9.032),(-35.16,9.661),(-34.838,9.577),(-35,8.951),(-34.694,8.875),(-34.534,9.494),(-34.306,9.434),(-34.465,8.818),(-34.032,8.71),(-33.875,9.318),(-33.583,9.24),(-33.739,8.637),(-33.433,8.561),(-33.278,9.157),(-33.019,9.089),(-33.173,8.496),(-32.785,8.399),(-32.633,8.985),(-32.44,8.934),(-32.591,8.351),(-32.192,8.251),(-32.043,8.826),(-31.752,8.75),(-31.9,8.178),(-31.537,8.088),(-31.391,8.652),(-31.176,8.595),(-31.322,8.034),(-30.937,7.938),(-30.793,8.492),(-30.582,8.436),(-30.725,7.885),(-30.33,7.787),(-30.19,8.329),(-29.889,8.25),(-30.028,7.712),(-29.67,7.623),(-29.532,8.153),(-29.288,8.089),(-29.425,7.561),(-29.078,7.475),(-28.944,7.996),(-28.675,7.925),(-28.808,7.408),(-27.854,7.17),(-27.725,7.67),(-27.531,7.619),(-27.66,7.121),(-27.293,7.03),(-27.167,7.52),(-26.923,7.456),(-27.049,6.969),(-26.632,6.865),(-26.508,7.344),(-26.306,7.29),(-26.429,6.814),(-25.95,6.695),(-25.829,7.162),(-25.636,7.111),(-25.756,6.647),(-25.397,6.557),(-25.278,7.014),(-25.085,6.963),(-25.203,6.509),(-24.233,6.267),(-24.12,6.704),(-23.927,6.653),(-24.039,6.219),(-23.549,6.096),(-23.439,6.522),(-23.246,6.47),(-23.355,6.048),(0,0.225),(0,-0.225),(-23.355,-6.048),(-23.246,-6.47),(-23.439,-6.522),(-23.549,-6.096),(-24.039,-6.219),(-23.927,-6.653),(-24.12,-6.704),(-24.233,-6.267),(-25.203,-6.509),(-25.085,-6.963),(-25.278,-7.014),(-25.397,-6.557),(-25.756,-6.647),(-25.636,-7.111),(-25.829,-7.162),(-25.95,-6.695),(-26.429,-6.814),(-26.306,-7.29),(-26.508,-7.344),(-26.632,-6.865),(-27.049,-6.969),(-26.923,-7.456),(-27.167,-7.52),(-27.293,-7.03),(-27.66,-7.121),(-27.531,-7.619),(-27.725,-7.67),(-27.854,-7.17),(-28.808,-7.408),(-28.675,-7.925),(-28.944,-7.996),(-29.078,-7.475),(-29.425,-7.561),(-29.288,-8.089),(-29.532,-8.153),(-29.67,-7.623),(-30.028,-7.712),(-29.889,-8.25),(-30.19,-8.329),(-30.33,-7.787),(-30.725,-7.885),(-30.582,-8.436),(-30.793,-8.492),(-30.937,-7.938),(-31.322,-8.034),(-31.176,-8.595),(-31.391,-8.652),(-31.537,-8.088),(-31.9,-8.178),(-31.752,-8.75),(-32.043,-8.826),(-32.192,-8.251),(-32.591,-8.351),(-32.44,-8.934),(-32.633,-8.985),(-32.785,-8.399),(-33.173,-8.496),(-33.019,-9.089),(-33.278,-9.157),(-33.433,-8.561),(-33.739,-8.637),(-33.583,-9.24),(-33.875,-9.318),(-34.032,-8.71),(-34.465,-8.818),(-34.306,-9.434),(-34.534,-9.494),(-34.694,-8.875),(-35,-8.951),(-34.838,-9.577),(-35.16,-9.661),(-35.323,-9.032),(-35.679,-9.121),(-35.514,-9.758),(-35.843,-9.845),(-36.009,-9.203),(-36.303,-9.276),(-36.135,-9.924),(-36.462,-10.011),(-36.631,-9.358),(-37.001,-9.45),(-36.83,-10.11),(-37.154,-10.196),(-37.326,-9.531),(-37.568,-9.592),(-37.395,-10.262),(-37.881,-10.39),(-38.055,-9.713),(-38.679,-9.869),(-38.501,-10.558),(-38.831,-10.645),(-39.01,-9.951),(-39.371,-10.041),(-39.19,-10.743),(-39.544,-10.836),(-39.726,-10.13),(-40.182,-10.244),(-39.997,-10.959),(-40.217,-11.017),(-40.403,-10.299),(-40.727,-10.379),(-40.539,-11.104),(-40.732,-11.155),(-40.921,-10.428),(-41.163,-10.488),(-40.974,-11.221),(-41.168,-11.272),(-41.358,-10.537),(-41.58,-10.592),(-41.389,-11.332),(-41.583,-11.383),(-41.775,-10.641),(-41.978,-10.691),(-41.785,-11.438),(-41.99,-11.492),(-42.184,-10.743),(-42.446,-10.808),(-42.251,-11.563),(-42.527,-11.635),(-42.723,-10.877),(-43.01,-10.949),(-42.812,-11.713),(-43.106,-11.79),(-43.305,-11.022),(-43.606,-11.097),(-43.406,-11.872),(-43.723,-11.956),(-43.924,-11.177),(-44.21,-11.248),(-44.007,-12.033),(-44.308,-12.112),(-44.512,-11.323),(-44.772,-11.388),(-44.566,-12.183),(-44.899,-12.271),(-45.106,-11.471),(-45.364,-11.536),(-45.155,-12.341),(-45.515,-12.436),(-45.725,-11.626),(-45.985,-11.69),(-45.773,-12.507),(-46.181,-12.615),(-46.394,-11.793),(-46.673,-11.862),(-46.458,-12.69),(-46.893,-12.805),(-47.11,-11.971),(-47.386,-12.04),(-47.168,-12.88),(-47.619,-12.999),(-47.838,-12.153),(-48.112,-12.221),(-47.892,-13.074),(-48.334,-13.19),(-48.555,-12.331),(-48.798,-12.392),(-48.575,-13.257),(-49.015,-13.372),(-49.239,-12.502),(-49.462,-12.557),(-49.235,-13.434),(-49.673,-13.55),(-49.902,-12.667),(-50.103,-12.717),(-49.873,-13.605),(-50.327,-13.725),(-50.558,-12.831),(-50.752,-12.879),(-50.519,-13.778),(-50.992,-13.902),(-51.226,-12.997),(-51.423,-13.046),(-51.187,-13.957),(-51.691,-14.09),(-51.928,-13.172),(-52.137,-13.224),(-51.898,-14.148),(-52.417,-14.285),(-52.658,-13.354),(-52.853,-13.403),(-52.611,-14.339),(-53.136,-14.477),(-53.38,-13.534),(-53.578,-13.584),(-53.333,-14.532),(-53.87,-14.674),(-54.117,-13.718),(-54.327,-13.77),(-54.078,-14.732),(-54.652,-14.884),(-54.903,-13.914),(-55.106,-13.965),(-54.854,-14.94),(-55.429,-15.091),(-55.683,-14.109),(-55.9,-14.163),(-55.644,-15.152),(-56.234,-15.307),(-56.492,-14.31)])
soi220_cband_te_strip_ap.add(gdstk.Reference(text_gdsfactorypcomponen, (-68.649,-24.52)))

lib.write_gds('SOI220_cband_TE_strip_apodized_GC_focusing_v1p2.gds')
